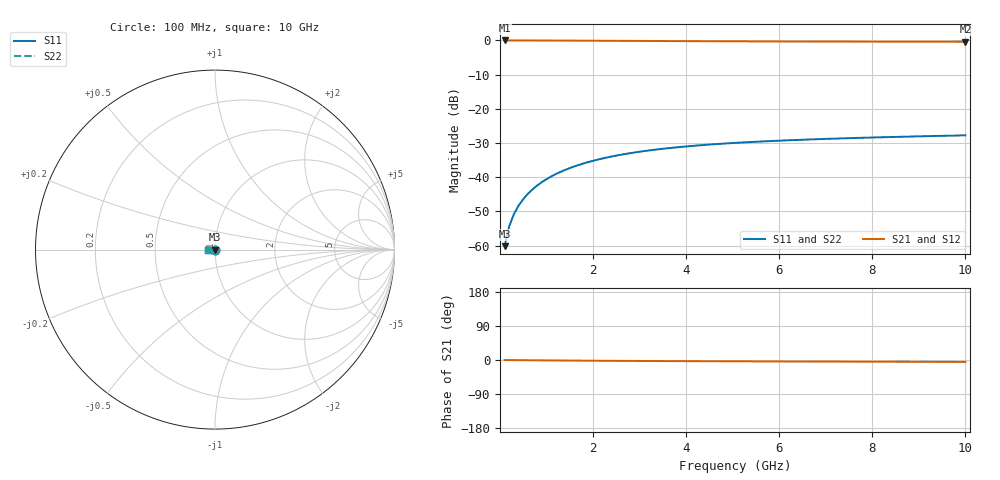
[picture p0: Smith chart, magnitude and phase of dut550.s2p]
! Touchstone file exported from HFSS 2024.1.0
!  File:  C:/UserFiles/LocalFiles/RDL_TSV_Batchsim/temp_TSV1_550_1779706221.aedt
!  Generated:  06:56:50 PM May 25, 2026
!  Design:  TSV1
!  Project:  temp_TSV1_550_1779706221
!  Setup:  Setup1
!  Solution:  Sweep
! Variables:
!  dtsv = 7.68um
!  hbump = 3um
!  htsv = 80.23um
!  lrdl = 252.1521522um
!  p = 40
!  p1 = 41.1um
!  t = 500um
!  trdl = 3um
!  wrdl = 24.89489489um
# GHz S MA R 50.000000
! Terminal data exported
! Port[1] = TSV22_T1
! Port[2] = TSV22_T2
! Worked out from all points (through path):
!   100 points, 100 MHz to 10 GHz, reference 50 ohm
!   highest |S21| = 0.00 dB at 100 MHz (marker M1); lowest = -0.4 dB at 10 GHz (marker M2)
!   lowest |S11| = -60.2 dB at 100 MHz (marker M3), VSWR 1.00, Z = 50 - j0.0953 ohm
!   |S11| at or under -10 dB: start of sweep to end of sweep
!   |S22| runs from -60.2 to -27.8 dB; largest |S21 - S12| = 6.9e-15
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0.1  0.0009783 -77.0  0.9997 -0.1  0.9997 -0.1  0.0009783 -77.0
! Gamma 0 0 0 0
! Port Impedance 50 0 50 0
0.2  0.001925 -85.6  0.9996 -0.2  0.9996 -0.2  0.001925 -85.6
0.3  0.002878 -89.7  0.9995 -0.3  0.9995 -0.3  0.002878 -89.7
0.4  0.003827 -92.6  0.9993 -0.4  0.9993 -0.4  0.003827 -92.6
0.5  0.004771 -95.0  0.999 -0.5  0.999 -0.5  0.004771 -95.0
0.6  0.005707 -97.1  0.9987 -0.6  0.9987 -0.6  0.005707 -97.1
0.7  0.006634 -99.0  0.9984 -0.7  0.9984 -0.7  0.006634 -99.0
0.8  0.00755 -100.9  0.998 -0.8  0.998 -0.8  0.00755 -100.9
0.9  0.008454 -102.7  0.9976 -0.9  0.9976 -0.9  0.008454 -102.7
1.1  0.01022 -106.0  0.9966 -1.1  0.9966 -1.1  0.01022 -106.0
1.4  0.01276 -110.8  0.9948 -1.4  0.9948 -1.4  0.01276 -110.8
1.6  0.01437 -113.9  0.9936 -1.6  0.9936 -1.6  0.01437 -113.9
1.8  0.0159 -116.8  0.9922 -1.7  0.9922 -1.7  0.0159 -116.8
2.1  0.01806 -121.0  0.99 -2.0  0.99 -2.0  0.01806 -121.0
2.5  0.02068 -126.3  0.9871 -2.3  0.9871 -2.3  0.02068 -126.3
2.9  0.02301 -131.2  0.9842 -2.5  0.9842 -2.5  0.02301 -131.2
3.4  0.02556 -136.8  0.9807 -2.8  0.9807 -2.8  0.02556 -136.8
4.2  0.0289 -144.7  0.9756 -3.1  0.9756 -3.1  0.0289 -144.7
5.1  0.03185 -152.3  0.9708 -3.5  0.9708 -3.5  0.03185 -152.3
6.7  0.03569 -163.6  0.9645 -4.0  0.9645 -4.0  0.03569 -163.6
8.4  0.03866 -173.2  0.9598 -4.6  0.9598 -4.6  0.03866 -173.2
10  0.04091 179.2  0.9567 -5.1  0.9567 -5.1  0.04091 179.2
